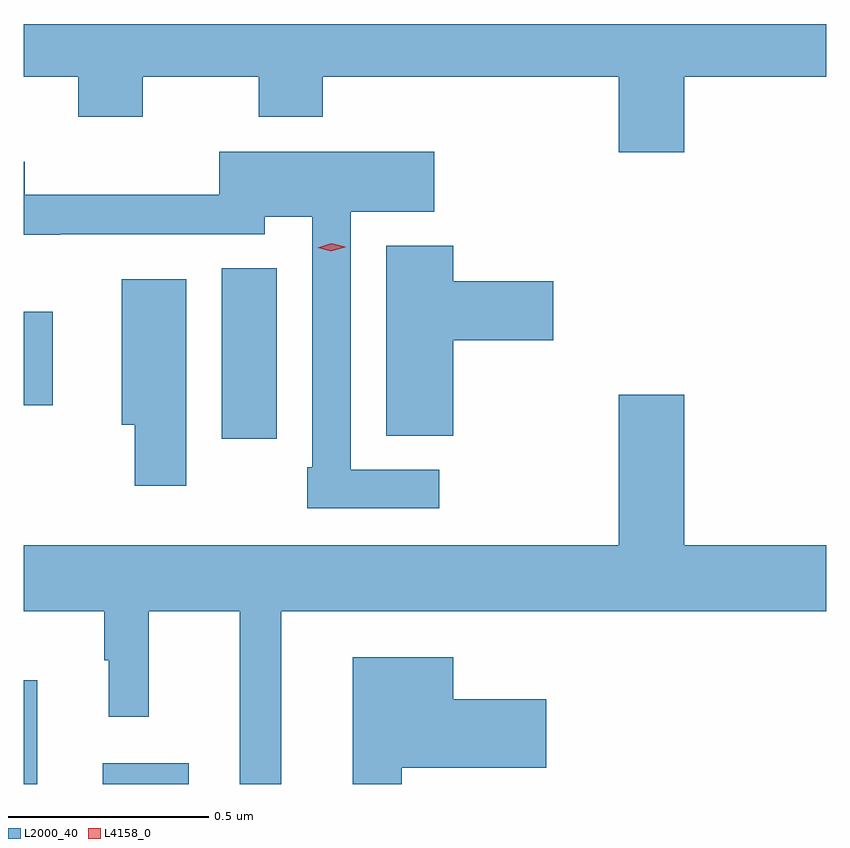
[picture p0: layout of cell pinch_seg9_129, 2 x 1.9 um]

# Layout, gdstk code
import gdstk
lib = gdstk.Library(unit=1e-6, precision=1e-09)
def R(c, l, rs):  # rectangles x0, y0, x1, y1
    for r in rs: c.add(gdstk.rectangle(r[:2], r[2:], *l))
def P(c, l, *ps):  # polygons
    for p in ps: c.add(gdstk.Polygon(p, *l))
L2000_40 = (2000, 40)
L4158_0 = (4158, 0)

pinch_seg9_129 = lib.new_cell('pinch_seg9_129')
R(pinch_seg9_129, L2000_40, [(810.877,1246.605,810.91,1246.864), (811.073,1246.605,811.288,1246.657), (811.37,1247.466,811.507,1247.891), (810.877,1247.549,810.949,1247.782)])
P(pinch_seg9_129, L2000_40, [(812.524,1248.368),(812.877,1248.368),(812.877,1248.5),(810.877,1248.5),(810.877,1248.368),(811.013,1248.368),(811.013,1248.269),(811.173,1248.269),(811.173,1248.368),(811.462,1248.368),(811.462,1248.269),(811.622,1248.269),(811.622,1248.368),(812.36,1248.368),(812.36,1248.18),(812.524,1248.18)],
  [(811.912,1247.388),(811.692,1247.388),(811.692,1248.032),(811.9,1248.032),(811.9,1248.181),(811.364,1248.181),(811.364,1248.074),(810.879,1248.074),(810.879,1248.157),(810.877,1248.157),(810.877,1247.975),(810.967,1247.975),(810.967,1247.976),(811.477,1247.976),(811.477,1248.02),(811.596,1248.02),(811.596,1247.395),(811.584,1247.395),(811.584,1247.292),(811.912,1247.292)],
  [(811.948,1247.711),(812.197,1247.711),(812.197,1247.858),(811.948,1247.858),(811.948,1247.947),(811.781,1247.947),(811.781,1247.473),(811.948,1247.473)],
  [(811.282,1247.863),(811.121,1247.863),(811.121,1247.501),(811.153,1247.501),(811.153,1247.349),(811.282,1247.349)],
  [(811.519,1247.036),(812.877,1247.036),(812.877,1247.2),(812.524,1247.2),(812.524,1247.575),(812.36,1247.575),(812.36,1247.2),(810.877,1247.2),(810.877,1247.036),(811.077,1247.036),(811.077,1246.913),(811.088,1246.913),(811.088,1246.773),(811.188,1246.773),(811.188,1247.036),(811.415,1247.036),(811.415,1246.605),(811.519,1246.605)],
  [(811.819,1246.646),(812.179,1246.646),(812.179,1246.816),(811.948,1246.816),(811.948,1246.921),(811.697,1246.921),(811.697,1246.605),(811.819,1246.605)])
P(pinch_seg9_129, L4158_0, [(811.643,1247.933),(811.609,1247.942),(811.608,1247.942),(811.609,1247.942),(811.643,1247.953),(811.678,1247.944),(811.678,1247.943),(811.678,1247.943)])

lib.write_gds('pinch_seg9_129.gds')
